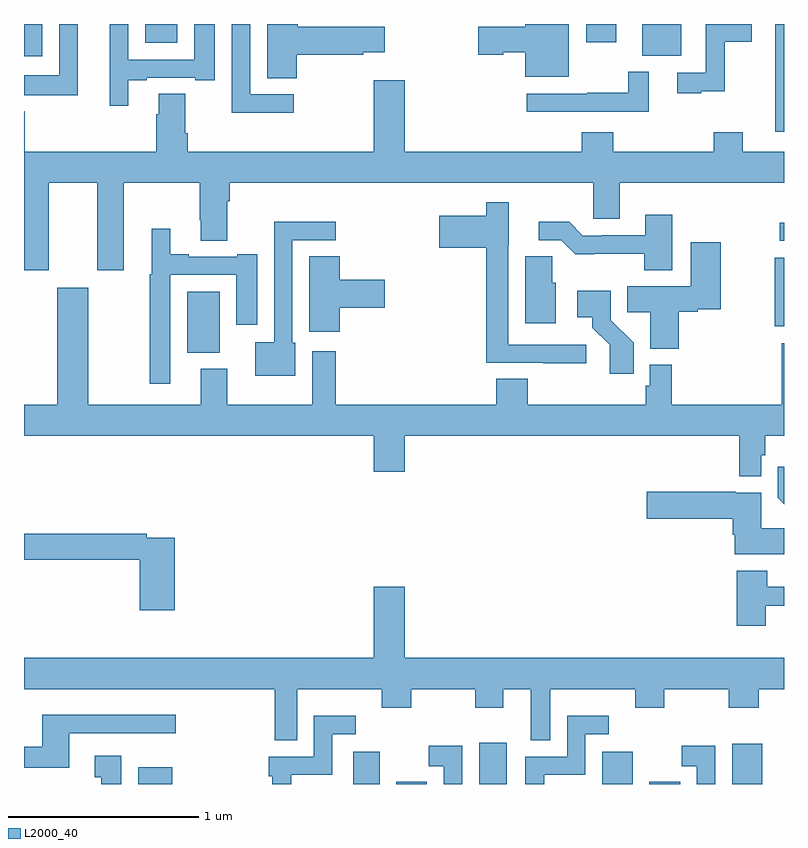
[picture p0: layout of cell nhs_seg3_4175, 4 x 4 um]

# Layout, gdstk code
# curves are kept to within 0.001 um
import gdstk
lib = gdstk.Library(unit=1e-6, precision=1e-09)
def R(c, l, rs):  # rectangles x0, y0, x1, y1
    for r in rs: c.add(gdstk.rectangle(r[:2], r[2:], *l))
def P(c, l, *ps):  # polygons
    for p in ps: c.add(gdstk.Polygon(p, *l))
L2000_40 = (2000, 40)

nhs_seg3_4175 = lib.new_cell('nhs_seg3_4175')
R(nhs_seg3_4175, L2000_40, [(331.601,716.4,331.78,716.488), (332.732,716.4,332.872,716.569), (332.96,716.4,333.121,716.412), (333.395,716.4,333.541,716.617), (334.043,716.4,334.204,716.569), (334.292,716.4,334.453,716.412), (334.727,716.4,334.886,716.611), (331.859,718.67,332.029,718.99), (334.952,718.808,335,719.17), (334.977,719.259,335,719.355), (334.955,719.832,335,720.4), (331,720.23,331.096,720.4), (334.253,720.233,334.459,720.4), (331.637,720.302,331.807,720.4), (333.959,720.305,334.117,720.4)])
P(nhs_seg3_4175, L2000_40, [(334.565,720.047),(334.688,720.047),(334.688,720.307),(334.831,720.307),(334.831,720.4),(334.587,720.4),(334.587,720.144),(334.437,720.144),(334.437,720.036),(334.565,720.036)],
  [(331.549,720.105),(331.645,720.105),(331.645,720.117),(331.901,720.117),(331.901,720.105),(332.005,720.105),(332.005,720.4),(331.895,720.4),(331.895,720.213),(331.548,720.213),(331.548,720.4),(331.451,720.4),(331.451,719.97),(331.549,719.97)],
  [(332.419,720.03),(332.19,720.03),(332.19,720.4),(332.094,720.4),(332.094,719.933),(332.419,719.933)],
  [(331.282,720.4),(331.185,720.4),(331.185,720.13),(331,720.13),(331,720.026),(331.282,720.026)],
  [(332.436,720.239),(332.786,720.239),(332.786,720.251),(332.899,720.251),(332.899,720.386),(332.441,720.386),(332.441,720.4),(332.279,720.4),(332.279,720.115),(332.436,720.115)],
  [(333.868,720.4),(333.638,720.4),(333.638,720.386),(333.39,720.386),(333.39,720.239),(333.522,720.239),(333.522,720.251),(333.638,720.251),(333.638,720.122),(333.868,720.122)],
  [(334.288,720.148),(334.179,720.148),(334.179,720.038),(333.964,720.038),(333.964,720.033),(333.645,720.033),(333.645,719.937),(334.288,719.937)],
  [(331.129,719.564),(331.385,719.564),(331.385,719.103),(331.525,719.103),(331.525,719.564),(331.924,719.564),(331.924,719.368),(331.931,719.368),(331.931,719.26),(332.071,719.26),(332.071,719.468),(332.084,719.468),(332.084,719.564),(333.996,719.564),(333.996,719.374),(334.135,719.374),(334.135,719.564),(335,719.564),(335,719.728),(334.783,719.728),(334.783,719.83),(334.631,719.83),(334.631,719.728),(334.1,719.728),(334.1,719.83),(333.935,719.83),(333.935,719.728),(333.004,719.728),(333.004,720.103),(332.84,720.103),(332.84,719.728),(331.862,719.728),(331.862,719.824),(331.849,719.824),(331.849,720.032),(331.709,720.032),(331.709,719.924),(331.697,719.924),(331.697,719.728),(331.004,719.728),(331.004,719.941),(331,719.941),(331,719.103),(331.129,719.103)],
  [(333.958,718.713),(333.549,718.713),(333.549,719.238),(333.55,719.238),(333.55,719.461),(333.433,719.461),(333.433,719.392),(333.186,719.392),(333.186,719.222),(333.433,719.222),(333.433,718.617),(333.733,718.617),(333.733,718.615),(333.958,718.615)],
  [(334.411,719.395),(334.271,719.395),(334.271,719.289),(334.042,719.289),(334.042,719.286),(333.942,719.286),(333.869,719.359),(333.708,719.359),(333.708,719.262),(333.828,719.262),(333.901,719.189),(334.264,719.19),(334.264,719.105),(334.411,719.105)],
  [(332.428,718.722),(332.412,718.722),(332.412,719.262),(332.641,719.262),(332.641,719.36),(332.316,719.36),(332.316,718.726),(332.216,718.726),(332.216,718.55),(332.428,718.55)],
  [(331.77,719.079),(332.117,719.079),(332.117,718.818),(332.227,718.818),(332.227,719.188),(332.123,719.188),(332.123,719.175),(331.867,719.175),(331.867,719.188),(331.771,719.188),(331.771,719.323),(331.673,719.323),(331.673,719.082),(331.662,719.082),(331.662,718.506),(331.77,718.506)],
  [(334.445,718.886),(334.545,718.886),(334.545,718.898),(334.666,718.898),(334.666,719.251),(334.508,719.251),(334.508,719.02),(334.174,719.02),(334.174,718.882),(334.295,718.882),(334.295,718.691),(334.445,718.691)],
  [(332.663,718.907),(332.899,718.907),(332.899,719.054),(332.663,719.054),(332.663,719.177),(332.501,719.177),(332.501,718.779),(332.663,718.779)],
  [(333.799,719.037),(333.78,719.037),(333.78,719.177),(333.638,719.177),(333.638,718.824),(333.799,718.824)],
  [(334.881,718.131),(334.901,718.131),(334.901,718.232),(335,718.232),(335,718.72),(334.987,718.72),(334.987,718.396),(334.409,718.396),(334.409,718.606),(334.293,718.606),(334.293,718.497),(334.273,718.497),(334.273,718.396),(333.65,718.396),(333.65,718.532),(333.485,718.532),(333.485,718.396),(332.642,718.396),(332.642,718.678),(332.516,718.678),(332.516,718.396),(332.071,718.396),(332.071,718.585),(331.931,718.585),(331.931,718.396),(331.339,718.396),(331.339,719.011),(331.175,719.011),(331.175,718.396),(331,718.396),(331,718.232),(332.84,718.232),(332.84,718.044),(333.004,718.044),(333.004,718.232),(334.765,718.232),(334.765,718.019),(334.881,718.019)],
  [(334.208,718.722),(334.089,718.841),(334.089,718.996),(333.912,718.996),(333.912,718.856),(333.992,718.856),(333.992,718.801),(334.083,718.711),(334.083,718.56),(334.208,718.56)],
  [(335,718.069),(334.966,718.069),(334.966,717.906),(335,717.872)],
  [(335,717.746),(334.879,717.746),(334.879,717.934),(334.746,717.934),(334.746,717.939),(334.278,717.939),(334.278,717.797),(334.73,717.797),(334.73,717.713),(334.742,717.713),(334.742,717.608),(335,717.608)],
  [(331.793,717.696),(331.646,717.696),(331.646,717.716),(331,717.716),(331,717.58),(331.61,717.58),(331.61,717.315),(331.793,717.315)],
  [(334.903,717.339),(335,717.339),(335,717.439),(334.911,717.439),(334.911,717.523),(334.751,717.523),(334.751,717.234),(334.903,717.234)],
  [(332.437,716.9),(332.884,716.9),(332.884,716.801),(333.039,716.801),(333.039,716.9),(333.376,716.9),(333.376,716.801),(333.523,716.801),(333.523,716.9),(333.668,716.9),(333.668,716.629),(333.769,716.629),(333.769,716.9),(334.216,716.9),(334.216,716.801),(334.371,716.801),(334.371,716.9),(334.708,716.9),(334.708,716.801),(334.868,716.801),(334.868,716.9),(335,716.9),(335,717.064),(333.004,717.064),(333.004,717.439),(332.84,717.439),(332.84,717.064),(331,717.064),(331,716.9),(332.319,716.9),(332.319,716.629),(332.437,716.629)],
  [(331.237,716.667),(331.798,716.667),(331.798,716.764),(331.097,716.764),(331.097,716.596),(331.001,716.596),(331.001,716.583),(331,716.583),(331,716.486),(331.237,716.486)],
  [(333.739,716.448),(333.954,716.448),(333.954,716.661),(334.078,716.661),(334.078,716.758),(333.858,716.758),(333.858,716.544),(333.638,716.544),(333.638,716.4),(333.739,716.4)],
  [(332.407,716.448),(332.622,716.448),(332.622,716.661),(332.746,716.661),(332.746,716.758),(332.526,716.758),(332.526,716.544),(332.289,716.544),(332.289,716.441),(332.306,716.441),(332.306,716.4),(332.407,716.4)],
  [(333.306,716.602),(333.129,716.602),(333.129,716.493),(333.21,716.493),(333.21,716.4),(333.306,716.4)],
  [(334.638,716.602),(334.461,716.602),(334.461,716.493),(334.542,716.493),(334.542,716.4),(334.638,716.4)],
  [(331.513,716.548),(331.373,716.548),(331.373,716.435),(331.406,716.435),(331.406,716.4),(331.513,716.4)])

lib.write_gds('nhs_seg3_4175.gds')
